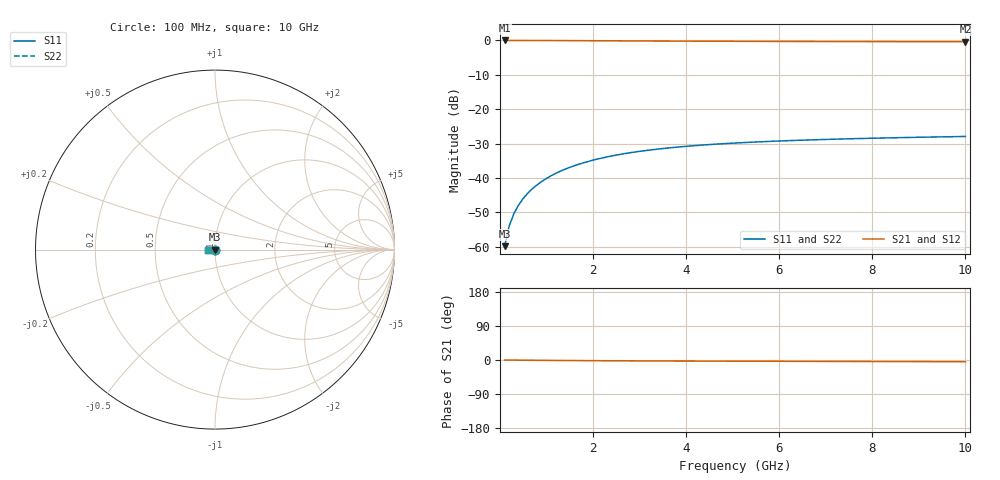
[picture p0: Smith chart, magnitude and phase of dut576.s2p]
! Touchstone file exported from HFSS 2024.1.0
!  File:  C:/UserFiles/LocalFiles/RDL_TSV_Batchsim/temp_TSV1_576_1779708674.aedt
!  Generated:  07:38:20 PM May 25, 2026
!  Design:  TSV1
!  Project:  temp_TSV1_576_1779708674
!  Setup:  Setup1
!  Solution:  Sweep
! Variables:
!  dtsv = 9.03um
!  hbump = 3um
!  htsv = 70.26um
!  lrdl = 252.1521522um
!  p = 40
!  p1 = 42.37um
!  t = 500um
!  trdl = 3um
!  wrdl = 24.89489489um
# GHz S MA R 50.000000
! Terminal data exported
! Port[1] = TSV22_T1
! Port[2] = TSV22_T2
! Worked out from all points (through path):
!   100 points, 100 MHz to 10 GHz, reference 50 ohm
!   highest |S21| = 0.00 dB at 100 MHz (marker M1); lowest = -0.4 dB at 10 GHz (marker M2)
!   lowest |S11| = -59.9 dB at 100 MHz (marker M3), VSWR 1.00, Z = 50 - j0.101 ohm
!   |S11| at or under -10 dB: start of sweep to end of sweep
!   |S22| runs from -59.9 to -27.9 dB; largest |S21 - S12| = 1.3e-15
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0.1  0.001015 -82.1  0.9998 -0.1  0.9998 -0.1  0.001015 -82.1
! Gamma 0 0 0 0
! Port Impedance 50 0 50 0
0.2  0.002016 -88.2  0.9997 -0.2  0.9997 -0.2  0.002016 -88.2
0.3  0.003023 -91.3  0.9995 -0.3  0.9995 -0.3  0.003023 -91.3
0.4  0.004026 -93.7  0.9993 -0.4  0.9993 -0.4  0.004026 -93.7
0.5  0.005023 -95.8  0.9991 -0.5  0.9991 -0.5  0.005023 -95.8
0.6  0.00601 -97.8  0.9988 -0.6  0.9988 -0.6  0.00601 -97.8
0.7  0.006986 -99.6  0.9984 -0.7  0.9984 -0.7  0.006986 -99.6
0.8  0.007949 -101.4  0.998 -0.8  0.998 -0.8  0.007949 -101.4
0.9  0.008897 -103.0  0.9975 -0.9  0.9975 -0.9  0.008897 -103.0
1.1  0.01075 -106.3  0.9965 -1.1  0.9965 -1.1  0.01075 -106.3
1.4  0.01338 -110.9  0.9947 -1.3  0.9947 -1.3  0.01338 -110.9
1.6  0.01504 -113.9  0.9934 -1.5  0.9934 -1.5  0.01504 -113.9
1.8  0.01662 -116.7  0.992 -1.6  0.992 -1.6  0.01662 -116.7
2.1  0.01882 -120.7  0.9899 -1.8  0.9899 -1.8  0.01882 -120.7
2.5  0.02147 -125.7  0.987 -2.1  0.987 -2.1  0.02147 -125.7
2.9  0.02379 -130.3  0.9841 -2.3  0.9841 -2.3  0.02379 -130.3
3.4  0.02629 -135.5  0.9807 -2.5  0.9807 -2.5  0.02629 -135.5
4.2  0.02952 -142.8  0.9759 -2.8  0.9759 -2.8  0.02952 -142.8
5.1  0.03229 -149.7  0.9715 -3.1  0.9715 -3.1  0.03229 -149.7
6.7  0.03576 -159.6  0.9656 -3.6  0.9656 -3.6  0.03576 -159.6
8.4  0.03828 -167.9  0.9614 -4.1  0.9614 -4.1  0.03828 -167.9
10  0.04006 -174.4  0.9585 -4.5  0.9585 -4.5  0.04006 -174.4
